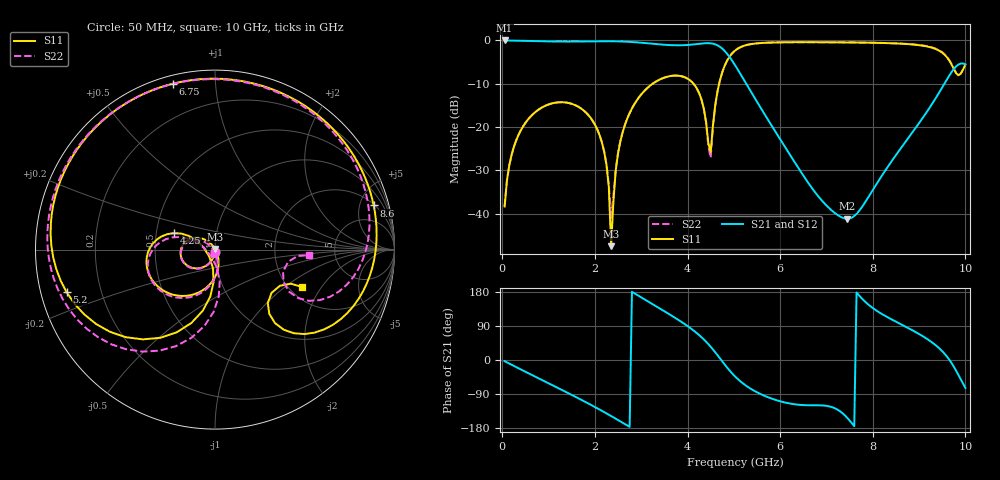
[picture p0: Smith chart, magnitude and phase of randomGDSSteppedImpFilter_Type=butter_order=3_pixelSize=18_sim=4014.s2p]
! freq	dB(S11)	phase(S11)	dB(S12)	phase(S12)
!  dB(S21)	phase(S21)	dB(S22)	phase(S22)
!S-par simulation data
#  GHz  S  DB  R 50
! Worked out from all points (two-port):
!   200 points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, 50 MHz to 10 GHz, reference 50 ohm
!   highest |S21| = -0.01 dB at 50 MHz (marker M1); lowest = -41.2 dB at 7.45 GHz (marker M2)
!   |S21| within 3 dB of the highest: start of sweep to 4.849 GHz
!   lowest |S11| = -47.5 dB at 2.35 GHz (marker M3), VSWR 1.01, Z = 50.1 + j0.418 ohm
!   |S11| at or under -10 dB: start of sweep to 3.247 GHz; 4.129 GHz to 4.683 GHz (554.2 MHz wide, 12.6 % of centre)
!   |S22| runs from -41.0 to -0.4 dB; largest |S21 - S12| = 0
!   S11 on the Smith chart (normalised r, x): 50 MHz: 1.00, -0.02; 4.25 GHz: 0.62, +0.12; 5.2 GHz: 0.08, -0.14; 6.75 GHz: 0.04, +0.78; 8.6 GHz: 2.13, +6.65; 10 GHz: 2.33, -1.34
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0.05  -38.33 -92.7  -0.01 -3.2  -0.01 -3.2  -38.31 -91.9
0.2  -26.45 -102.6  -0.03 -12.5  -0.03 -12.5  -26.44 -102.3
0.55  -18.31 -125.2  -0.11 -34.1  -0.11 -34.1  -18.32 -124.0
1.75  -16.10 159.5  -0.24 -107.8  -0.24 -107.8  -16.10 164.6
2.2  -25.67 128.0  -0.19 -137.5  -0.19 -137.5  -25.62 141.5
2.3  -33.80 117.6  -0.19 -144.4  -0.19 -144.4  -33.31 147.9
2.35  -47.49 81.6  -0.19 -147.9  -0.19 -147.9  -41.03 -168.2
2.45  -29.97 -63.8  -0.20 -154.9  -0.20 -154.9  -29.64 -78.4
2.6  -21.16 -76.9  -0.25 -165.6  -0.25 -165.6  -21.10 -79.9
3.4  -9.03 -136.4  -0.92 136.0  -0.92 136.0  -9.02 -132.5
4.25  -12.14 158.2  -0.78 65.8  -0.78 65.8  -12.17 164.0
4.5  -25.87 -128.1  -0.67 34.9  -0.67 34.9  -27.10 -115.7
4.7  -9.18 -101.3  -1.47 4.3  -1.47 4.3  -9.19 -91.2
5.05  -2.14 -147.9  -6.11 -46.2  -6.11 -46.2  -2.13 -137.6
5.2  -1.31 -163.9  -8.78 -62.1  -8.78 -62.1  -1.30 -153.2
6.7  -0.41 106.4  -34.27 -119.5  -34.27 -119.5  -0.40 122.5
6.75  -0.41 104.1  -34.99 -119.5  -34.99 -119.5  -0.40 120.3
7.45  -0.46 71.6  -41.16 -152.8  -41.16 -152.8  -0.45 90.4
8.35  -0.63 28.4  -28.76 110.8  -28.76 110.8  -0.61 49.5
8.6  -0.75 15.6  -24.98 94.8  -24.98 94.8  -0.72 37.1
9.5  -2.82 -39.8  -10.83 23.2  -10.83 23.2  -2.73 -18.6
10  -5.58 -23.3  -5.49 -73.7  -5.49 -73.7  -5.62 -3.4
